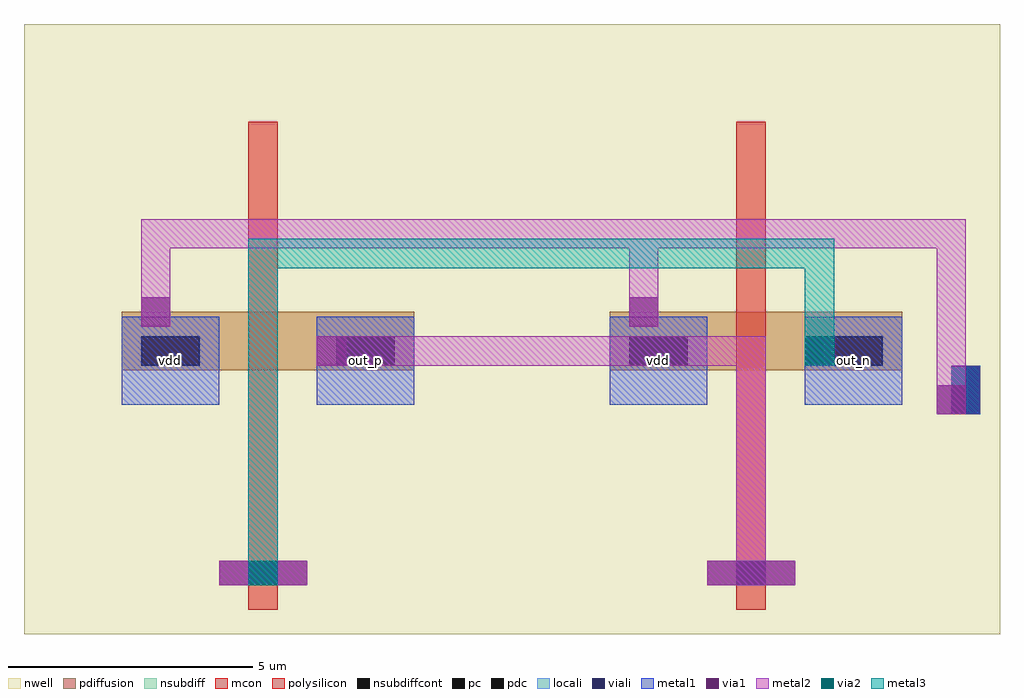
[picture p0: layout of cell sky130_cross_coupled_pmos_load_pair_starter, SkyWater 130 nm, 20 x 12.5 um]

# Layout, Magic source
magic
tech sky130A
<< nwell >>
rect 200 150 2200 1400
<< pdiffusion >>
rect 400 690 1000 810
rect 1400 690 2000 810
<< nsubdiff >>
rect 2100 600 2160 700
<< nsubdiffcont >>
rect 2100 600 2160 700
<< locali >>
rect 2100 600 2160 700
<< viali >>
rect 2100 600 2160 700
<< metal1 >>
rect 2100 600 2160 700
<< polysilicon >>
rect 660 200 720 1200
rect 1660 200 1720 1200
<< pc >>
rect 660 250 720 300
rect 1660 250 1720 300
<< pdc >>
rect 440 700 560 760
rect 840 700 960 760
rect 1440 700 1560 760
rect 1840 700 1960 760
<< mcon >>
rect 440 700 560 760
rect 840 700 960 760
rect 1440 700 1560 760
rect 1840 700 1960 760
rect 660 250 720 300
rect 1660 250 1720 300
<< locali >>
rect 660 250 720 300
rect 1660 250 1720 300
<< metal1 >>
rect 400 620 600 800
rect 800 620 1000 800
rect 1400 620 1600 800
rect 1800 620 2000 800
rect 660 250 720 300
rect 1660 250 1720 300
rect 400 620 600 680
rect 1400 620 1600 680
<< metal2 >>
rect 600 250 780 300
rect 1600 250 1780 300
<< via1 >>
rect 600 250 780 300
rect 1600 250 1780 300
<< metal2 >>
rect 800 700 860 760
rect 800 700 1720 760
rect 1660 250 1720 760
rect 1800 700 1860 760
<< metal2 >>
rect 440 780 500 1000
rect 1440 780 1500 1000
rect 440 940 2100 1000
rect 2070 600 2130 1000
<< via1 >>
rect 800 700 860 760
rect 1800 700 1860 760
rect 440 780 500 840
rect 1440 780 1500 840
rect 2070 600 2130 660
<< via2 >>
rect 660 250 720 300
rect 1800 700 1860 760
<< metal3 >>
rect 660 900 1860 960
rect 660 250 720 960
rect 1800 700 1860 960
<< labels >>
rlabel metal1 400 620 600 800 0 vdd
port 1 nsew
rlabel metal1 800 620 1000 800 0 out_p
port 2 nsew
rlabel metal1 1400 620 1600 800 0 vdd
port 3 nsew
rlabel metal1 1800 620 2000 800 0 out_n
port 4 nsew
<< end >>
